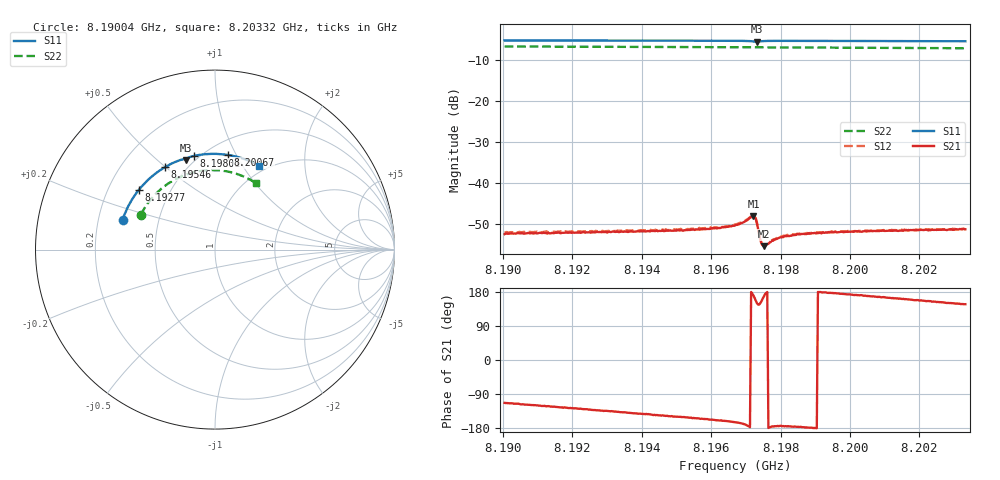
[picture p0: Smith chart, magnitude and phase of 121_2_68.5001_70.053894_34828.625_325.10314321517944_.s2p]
#  HZ  S  RI  R  50.00
! Rohde & Schwarz Vector Network Analyzer
! Rohde-Schwarz,ZNB20-2Port,1311601062101988,3.16
! Created: UTC 3/20/2024, 5:09:07 PM
! freq[Hz]  re:S11  im:S11  re:S21  im:S21  re:S12  im:S12  re:S22  im:S22
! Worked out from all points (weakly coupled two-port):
!   401 points, 8.19004 GHz to 8.20332 GHz, reference 50 ohm
!   highest |S21| = -48.10 dB at 8.19722 GHz (marker M1); lowest = -55.4 dB at 8.19751 GHz (marker M2)
!   lowest |S11| = -5.6 dB at 8.19732 GHz (marker M3), VSWR 3.19, Z = 22.8 + j31.2 ohm
!   |S11| at or under -10 dB: nowhere
!   |S22| runs from -7.2 to -6.8 dB; largest |S21 - S12| = 0.00024
!   S11 on the Smith chart (normalised r, x): 8.19004 GHz: 0.30, +0.14; 8.19277 GHz: 0.33, +0.31; 8.19546 GHz: 0.38, +0.49; 8.19801 GHz: 0.47, +0.69; 8.20067 GHz: 0.63, +0.92; 8.20332 GHz: 0.92, +1.19
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8.190044e9  -0.5144 0.1672  -0.000929 -0.00218  -0.00105 -0.00224  -0.4129 0.1941
8.192268e9  -0.4444 0.3063  -0.00157 -0.00193  -0.00165 -0.00192  -0.3436 0.2961
8.192766e9  -0.4233 0.3343  -0.00171 -0.00183  -0.00182 -0.00183  -0.3244 0.3163
8.194493e9  -0.3373 0.4196  -0.00216 -0.00145  -0.00226 -0.00141  -0.2487 0.3757
8.195456e9  -0.2811 0.4581  -0.00242 -0.00119  -0.00249 -0.00117  -0.2013 0.4016
8.196286e9  -0.2286 0.4854  -0.00266 -0.001  -0.00276 -0.000889  -0.1581 0.4189
8.196684e9  -0.2017 0.4963  -0.0029 -0.000823  -0.00301 -0.000761  -0.1367 0.4258
8.196917e9  -0.1847 0.5016  -0.00321 -0.000664  -0.00329 -0.000548  -0.124 0.4293
8.197149e9  -0.1657 0.5031  -0.00381 3.75e-05  -0.00388 0.000201  -0.1112 0.4323
8.197216e9  -0.1608 0.5007  -0.00388 0.000674  -0.00389 0.000866  -0.1076 0.433
8.197282e9  -0.1595 0.4976  -0.00334 0.00144  -0.00332 0.00163  -0.1041 0.4337
8.197315e9  -0.1604 0.4972  -0.00279 0.0016  -0.0028 0.00175  -0.1022 0.4339
8.197415e9  -0.1605 0.503  -0.00175 0.000998  -0.00172 0.0011  -0.0969 0.4352
8.197448e9  -0.1589 0.5052  -0.00165 0.000757  -0.00167 0.000831  -0.095 0.4356
8.197514e9  -0.1545 0.509  -0.00165 0.000374  -0.00166 0.000422  -0.0912 0.4363
8.197581e9  -0.1494 0.5118  -0.00173 9.43e-05  -0.00175 0.000162  -0.0875 0.4368
8.197813e9  -0.1321 0.5181  -0.00201 -0.000182  -0.00206 -0.000101  -0.0747 0.4391
8.198012e9  -0.1176 0.5219  -0.00215 -0.000244  -0.0022 -0.000157  -0.0634 0.4403
8.198909e9  -0.0539 0.5316  -0.00243 -5.36e-05  -0.00245 5.34e-05  -0.0125 0.4432
8.200669e9  0.0707 0.5276  -0.00253 0.000543  -0.00253 0.000652  0.0867 0.4315
8.201133e9  0.1029 0.5217  -0.00251 0.000711  -0.00252 0.000809  0.1124 0.4245
8.203325e9  0.2473 0.4673  -0.00228 0.00147  -0.00222 0.00158  0.2262 0.3713
